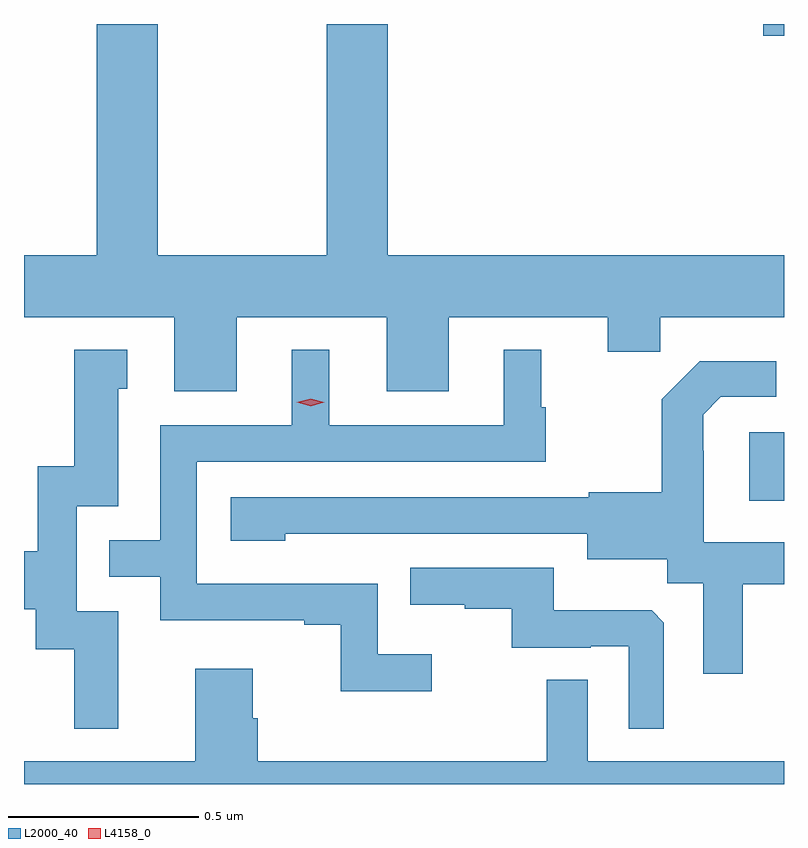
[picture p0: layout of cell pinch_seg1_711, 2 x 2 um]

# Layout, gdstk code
import gdstk
lib = gdstk.Library(unit=1e-6, precision=1e-09)
def R(c, l, rs):  # rectangles x0, y0, x1, y1
    for r in rs: c.add(gdstk.rectangle(r[:2], r[2:], *l))
def P(c, l, *ps):  # polygons
    for p in ps: c.add(gdstk.Polygon(p, *l))
L2000_40 = (2000, 40)
L4158_0 = (4158, 0)

pinch_seg1_711 = lib.new_cell('pinch_seg1_711')
R(pinch_seg1_711, L2000_40, [(688.127,572.562,688.219,572.742), (688.164,573.785,688.219,573.816)])
P(pinch_seg1_711, L2000_40, [(686.779,573.044),(687.173,573.044),(687.173,572.85),(687.337,572.85),(687.337,573.044),(687.755,573.044),(687.755,572.954),(687.893,572.954),(687.893,573.044),(688.219,573.044),(688.219,573.208),(687.176,573.208),(687.176,573.816),(687.016,573.816),(687.016,573.208),(686.571,573.208),(686.571,573.816),(686.411,573.816),(686.411,573.208),(686.219,573.208),(686.219,573.044),(686.615,573.044),(686.615,572.85),(686.779,572.85)],
  [(686.467,572.271),(686.358,572.271),(686.358,572.547),(686.467,572.547),(686.467,572.856),(686.491,572.856),(686.491,572.959),(686.351,572.959),(686.351,572.652),(686.255,572.652),(686.255,572.428),(686.219,572.428),(686.219,572.276),(686.25,572.276),(686.25,572.17),(686.351,572.17),(686.351,571.962),(686.467,571.962)],
  [(687.292,572.158),(687.15,572.158),(687.15,572.343),(686.673,572.343),(686.673,572.664),(687.592,572.664),(687.592,572.808),(687.58,572.808),(687.58,572.959),(687.482,572.959),(687.482,572.76),(687.022,572.76),(687.022,572.959),(686.924,572.959),(686.924,572.76),(686.577,572.76),(686.577,572.457),(686.443,572.457),(686.443,572.361),(686.577,572.361),(686.577,572.247),(686.957,572.247),(686.957,572.235),(687.052,572.235),(687.052,572.06),(687.292,572.06)],
  [(688.111,572.342),(688.219,572.342),(688.219,572.452),(688.008,572.452),(688.008,572.693),(688.006,572.693),(688.006,572.788),(688.053,572.835),(688.198,572.835),(688.198,572.929),(687.997,572.929),(687.897,572.829),(687.897,572.584),(687.705,572.584),(687.705,572.571),(686.763,572.571),(686.763,572.456),(686.907,572.456),(686.907,572.474),(687.143,572.474),(687.143,572.475),(687.701,572.475),(687.701,572.408),(687.912,572.408),(687.912,572.344),(688.007,572.344),(688.007,572.106),(688.111,572.106)],
  [(687.903,572.241),(687.871,572.273),(687.613,572.273),(687.613,572.385),(687.235,572.385),(687.235,572.288),(687.379,572.288),(687.379,572.277),(687.503,572.277),(687.503,572.175),(687.71,572.175),(687.71,572.178),(687.81,572.178),(687.81,571.961),(687.903,571.961)],
  [(688.219,571.876),(687.702,571.876),(687.702,572.09),(687.594,572.09),(687.594,571.876),(686.834,571.876),(686.834,571.989),(686.821,571.989),(686.821,572.119),(686.669,572.119),(686.669,571.876),(686.219,571.876),(686.219,571.816),(688.219,571.816)])
P(pinch_seg1_711, L4158_0, [(686.973,572.81),(686.937,572.82),(686.937,572.82),(686.937,572.82),(686.973,572.83),(687.009,572.82),(687.009,572.82),(687.009,572.82)])

lib.write_gds('pinch_seg1_711.gds')
